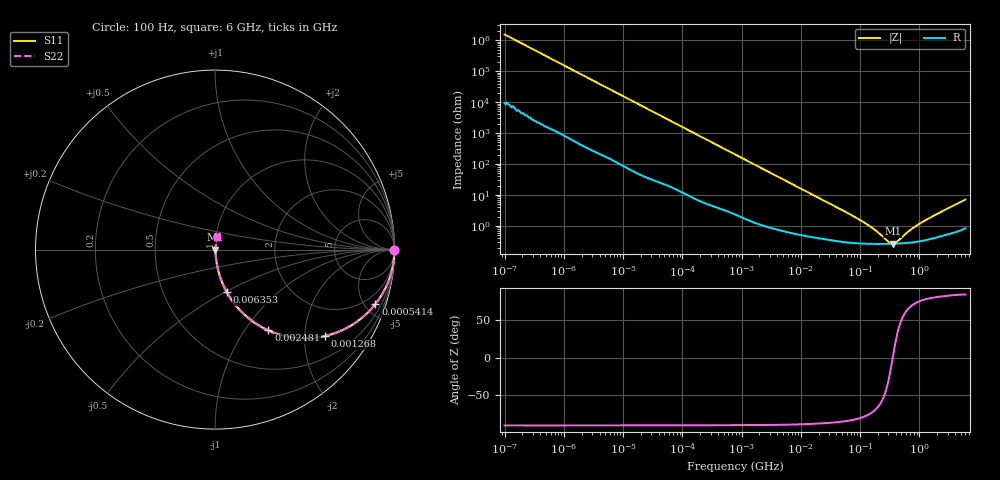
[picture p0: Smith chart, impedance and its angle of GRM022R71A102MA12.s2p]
!Murata Part Number: GRM022R71A102MA12
!These Parameters are Measured in Series Mode Connection
!Data Generated on Mar 30, 2021
!  o--ll--o
!Port1  Port2
!  o------o
!Operation Temp=25[degC], DC Bias Voltage=0[V]
!Freq. Start=100[Hz] Stop=6[GHz] 401[Steps]
# Hz S RI R 50
!Freq.(Hz) S11(Real) S11(Imag) S21(Real) S21(Imag) S12(Real) S12(Imag) S22(Real) S22(Imag)
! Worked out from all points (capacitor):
!   401 points, 100 Hz to 6 GHz, reference 50 ohm
!   read as one part in series: C = 1.03 nF near 109 Hz
!   lowest |Z| = 267 mohm at 357.3 MHz (marker M1)
!   series resonance near 356.5 MHz, so ESL is about 190 pH
!   S11 on the Smith chart (normalised r, x): 100 Hz: open; 541.4 kHz: 1.06, -5.86; 1.268 MHz: 1.03, -2.52; 2.481 MHz: 1.02, -1.29; 6.353 MHz: 1.01, -0.51; 6 GHz: 1.02, +0.14
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100  1 -6.51e-05  4e-07 6.51e-05  4e-07 6.51e-05  1 -6.51e-05
164  1 -0.000106  6e-07 0.000106  6e-07 0.000106  1 -0.000106
2008  1 -0.00129  8.5e-06 0.00129  8.5e-06 0.00129  1 -0.00129
40335  0.9992 -0.0257  0.000833 0.0257  0.000833 0.0257  0.9992 -0.0257
176758  0.9868 -0.1104  0.0132 0.1104  0.0132 0.1104  0.9868 -0.1104
330837  0.9565 -0.1996  0.0435 0.1996  0.0435 0.1996  0.9565 -0.1996
541393  0.8932 -0.3036  0.1068 0.3036  0.1068 0.3036  0.8932 -0.3036
774597  0.8057 -0.39  0.1943 0.39  0.1943 0.39  0.8057 -0.39
1267578  0.6121 -0.4811  0.3879 0.4811  0.3879 0.4811  0.6121 -0.4811
1734173  0.4603 -0.4918  0.5397 0.4918  0.5397 0.4918  0.4603 -0.4918
2481164  0.2973 -0.4495  0.7027 0.4495  0.7027 0.4495  0.2973 -0.4495
3882480  0.151 -0.3488  0.849 0.3488  0.849 0.3488  0.151 -0.3488
6353432  0.0656 -0.2359  0.9344 0.2359  0.9344 0.2359  0.0656 -0.2359
1.555665e7  0.015 -0.1025  0.985 0.1025  0.985 0.1025  0.015 -0.1025
1.166697e8  0.00284 -0.0127  0.9972 0.0127  0.9972 0.0127  0.00284 -0.0127
1.825626e8  0.00267 -0.00671  0.9973 0.00671  0.9973 0.00671  0.00267 -0.00671
3.124326e8  0.00264 -0.00123  0.9974 0.00123  0.9974 0.00123  0.00264 -0.00123
3.573489e8  0.00266 2.15e-05  0.9973 -2.15e-05  0.9973 -2.15e-05  0.00266 2.15e-05
4.087225e8  0.00269 0.00127  0.9973 -0.00127  0.9973 -0.00127  0.00269 0.00127
6.688484e8  0.0029 0.0062  0.9971 -0.0062  0.9971 -0.0062  0.0029 0.0062
1.094528e9  0.00343 0.0125  0.9966 -0.0125  0.9966 -0.0125  0.00343 0.0125
6e9  0.0132 0.069  0.9868 -0.069  0.9868 -0.069  0.0132 0.069
